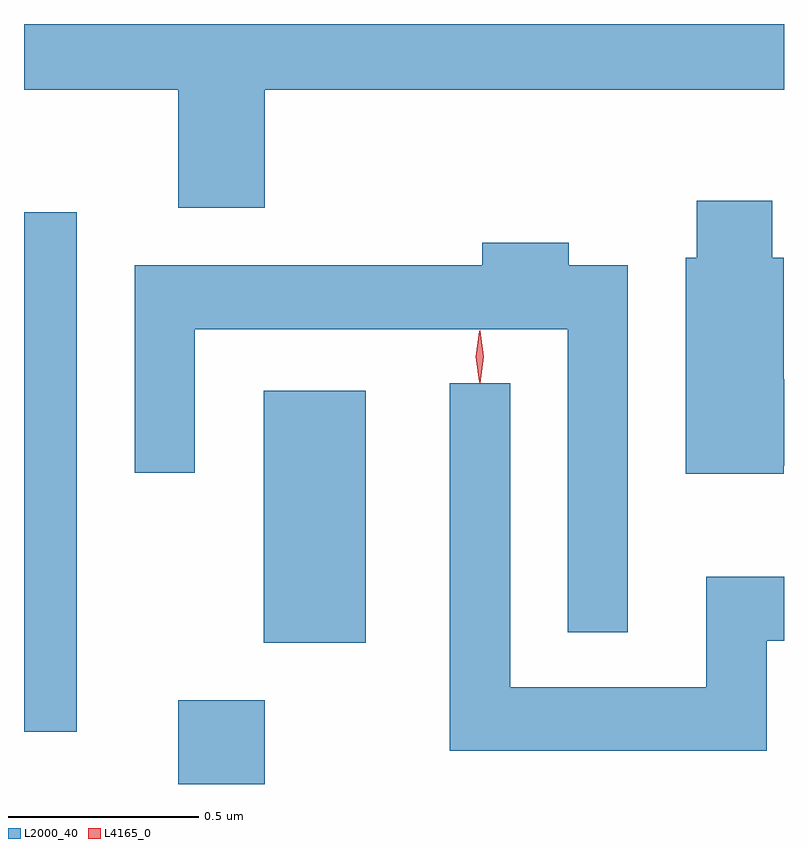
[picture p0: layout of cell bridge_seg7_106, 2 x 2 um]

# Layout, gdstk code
import gdstk
lib = gdstk.Library(unit=1e-6, precision=1e-09)
def R(c, l, rs):  # rectangles x0, y0, x1, y1
    for r in rs: c.add(gdstk.rectangle(r[:2], r[2:], *l))
def P(c, l, *ps):  # polygons
    for p in ps: c.add(gdstk.Polygon(p, *l))
L2000_40 = (2000, 40)
L4165_0 = (4165, 0)

bridge_seg7_106 = lib.new_cell('bridge_seg7_106')
R(bridge_seg7_106, L2000_40, [(1629.921,1781.309,1630.149,1781.529), (1629.515,1781.446,1629.654,1782.813), (1630.146,1781.681,1630.414,1782.344)])
P(bridge_seg7_106, L2000_40, [(1630.149,1783.136),(1631.515,1783.136),(1631.515,1783.309),(1629.515,1783.309),(1629.515,1783.136),(1629.921,1783.136),(1629.921,1782.826),(1630.149,1782.826)],
  [(1631.514,1782.146),(1631.515,1782.146),(1631.515,1782.374),(1631.514,1782.374),(1631.514,1782.694),(1631.484,1782.694),(1631.484,1782.844),(1631.286,1782.844),(1631.286,1782.694),(1631.256,1782.694),(1631.256,1782.126),(1631.514,1782.126)],
  [(1631.104,1782.674),(1630.949,1782.674),(1630.949,1782.734),(1630.721,1782.734),(1630.721,1782.674),(1629.806,1782.674),(1629.806,1782.128),(1629.964,1782.128),(1629.964,1782.506),(1630.946,1782.506),(1630.946,1781.708),(1631.104,1781.708)],
  [(1631.469,1781.686),(1631.515,1781.686),(1631.515,1781.854),(1631.311,1781.854),(1631.311,1781.564),(1630.794,1781.564),(1630.794,1782.363),(1630.636,1782.363),(1630.636,1781.396),(1631.469,1781.396)])
P(bridge_seg7_106, L4165_0, [(1630.713,1782.367),(1630.704,1782.434),(1630.713,1782.5),(1630.714,1782.5),(1630.714,1782.5),(1630.724,1782.434),(1630.714,1782.367),(1630.714,1782.367)],
  [(1630.714,1782.364),(1630.705,1782.434),(1630.714,1782.502),(1630.715,1782.503),(1630.715,1782.502),(1630.725,1782.434),(1630.715,1782.364),(1630.715,1782.364)])

lib.write_gds('bridge_seg7_106.gds')
